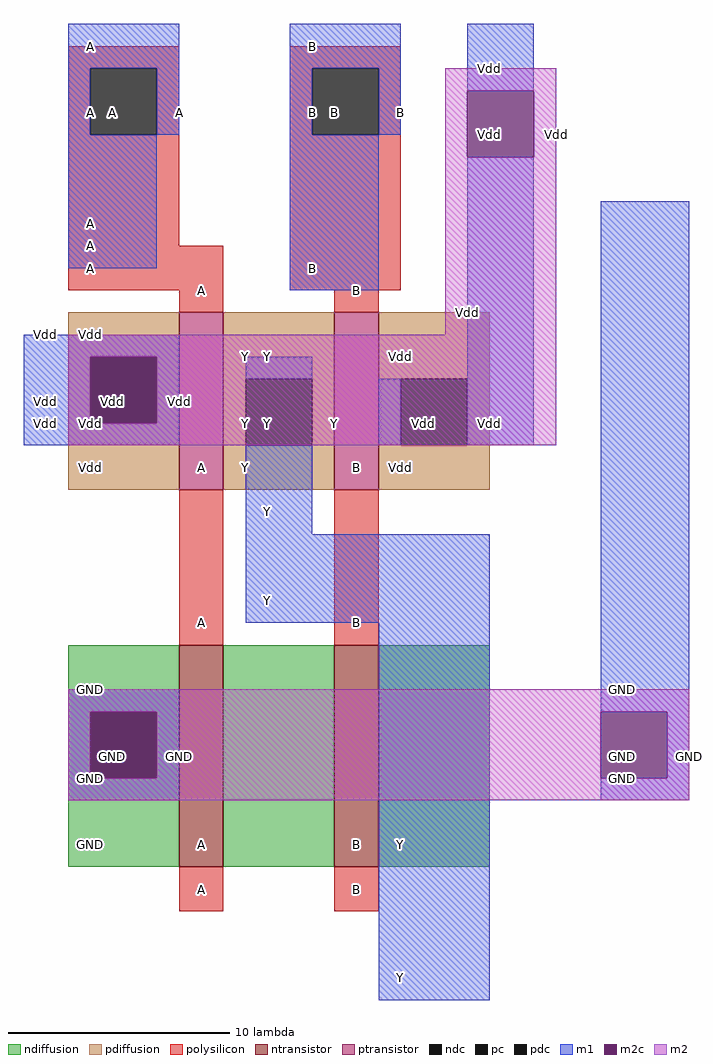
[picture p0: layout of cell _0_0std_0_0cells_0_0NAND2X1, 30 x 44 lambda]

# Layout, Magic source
magic
tech sky130l
<< ndiffusion >>
rect 8 17 13 20
rect 8 14 9 17
rect 12 14 13 17
rect 8 10 13 14
rect 15 10 20 20
rect 22 10 27 20
<< ndc >>
rect 9 14 12 17
<< ntransistor >>
rect 13 10 15 20
rect 20 10 22 20
<< pdiffusion >>
rect 8 33 13 35
rect 8 30 9 33
rect 12 30 13 33
rect 8 27 13 30
rect 15 32 20 35
rect 15 29 16 32
rect 19 29 20 32
rect 15 27 20 29
rect 22 32 27 35
rect 22 29 23 32
rect 26 29 27 32
rect 22 27 27 29
<< pdc >>
rect 9 30 12 33
rect 16 29 19 32
rect 23 29 26 32
<< ptransistor >>
rect 13 27 15 35
rect 20 27 22 35
<< polysilicon >>
rect 8 46 13 47
rect 8 43 9 46
rect 12 43 13 46
rect 8 38 13 43
rect 18 46 23 47
rect 18 43 19 46
rect 22 43 23 46
rect 8 36 15 38
rect 18 36 23 43
rect 13 35 15 36
rect 20 35 22 36
rect 13 20 15 27
rect 20 20 22 27
rect 13 8 15 10
rect 20 8 22 10
<< pc >>
rect 9 43 12 46
rect 19 43 22 46
<< m1 >>
rect 8 46 13 48
rect 8 43 9 46
rect 12 43 13 46
rect 18 46 23 48
rect 18 43 19 46
rect 22 43 23 46
rect 26 45 29 48
rect 8 37 12 43
rect 18 36 22 43
rect 6 33 13 34
rect 6 30 9 33
rect 12 30 13 33
rect 6 29 13 30
rect 16 32 19 33
rect 22 29 23 32
rect 26 29 29 42
rect 16 25 19 29
rect 16 21 27 25
rect 8 17 13 18
rect 8 14 9 17
rect 12 14 13 17
rect 8 13 13 14
rect 22 4 27 21
rect 32 17 36 40
rect 35 14 36 17
rect 32 13 36 14
<< m2c >>
rect 26 42 29 45
rect 9 30 12 33
rect 9 14 12 17
rect 32 14 35 17
<< m2 >>
rect 25 45 30 46
rect 25 42 26 45
rect 29 42 30 45
rect 25 34 30 42
rect 8 33 30 34
rect 8 30 9 33
rect 12 30 30 33
rect 8 29 30 30
rect 8 17 36 18
rect 8 14 9 17
rect 12 14 32 17
rect 35 14 36 17
rect 8 13 36 14
<< labels >>
rlabel ndiffusion 23 11 23 11 3 Y
rlabel pdiffusion 23 28 23 28 3 Vdd
rlabel pdiffusion 23 33 23 33 3 Vdd
rlabel pdiffusion 20 30 20 30 3 Y
rlabel polysilicon 21 36 21 36 3 B
rlabel polysilicon 21 9 21 9 3 B
rlabel ntransistor 21 11 21 11 3 B
rlabel polysilicon 21 21 21 21 3 B
rlabel ptransistor 21 28 21 28 3 B
rlabel pdiffusion 16 28 16 28 3 Y
rlabel pdiffusion 16 30 16 30 3 Y
rlabel pdiffusion 16 33 16 33 3 Y
rlabel polysilicon 14 9 14 9 3 A
rlabel ntransistor 14 11 14 11 3 A
rlabel polysilicon 14 21 14 21 3 A
rlabel ptransistor 14 28 14 28 3 A
rlabel polysilicon 14 36 14 36 3 A
rlabel ndiffusion 9 11 9 11 3 GND
rlabel pdiffusion 9 28 9 28 3 Vdd
rlabel polysilicon 9 37 9 37 3 A
rlabel polysilicon 9 39 9 39 3 A
rlabel m1 27 30 27 30 3 Vdd
rlabel m1 27 46 27 46 3 Vdd
rlabel m1 33 14 33 14 3 GND
rlabel m1 33 18 33 18 3 GND
rlabel pdc 24 30 24 30 3 Vdd
rlabel m1 23 44 23 44 3 B
port 1 e
rlabel m1 23 30 23 30 3 Vdd
rlabel m1 17 33 17 33 3 Y
port 2 e
rlabel pc 20 44 20 44 3 B
port 1 e
rlabel m1 23 5 23 5 3 Y
port 2 e
rlabel m1 17 22 17 22 3 Y
port 2 e
rlabel m1 17 26 17 26 3 Y
port 2 e
rlabel m1 19 37 19 37 3 B
port 1 e
rlabel m1 19 44 19 44 3 B
port 1 e
rlabel m1 19 47 19 47 3 B
port 1 e
rlabel m1 13 44 13 44 3 A
port 3 e
rlabel pdc 17 30 17 30 3 Y
port 2 e
rlabel pc 10 44 10 44 3 A
port 3 e
rlabel m1 9 38 9 38 3 A
port 3 e
rlabel m1 9 44 9 44 3 A
port 3 e
rlabel m1 9 47 9 47 3 A
port 3 e
rlabel m1 7 30 7 30 3 Vdd
rlabel m1 7 31 7 31 3 Vdd
rlabel m1 7 34 7 34 3 Vdd
rlabel m2 30 43 30 43 3 Vdd
rlabel m2 36 15 36 15 3 GND
rlabel m2c 27 43 27 43 3 Vdd
rlabel m2c 33 15 33 15 3 GND
rlabel m2 26 35 26 35 3 Vdd
rlabel m2 26 43 26 43 3 Vdd
rlabel m2 26 46 26 46 3 Vdd
rlabel m2 13 15 13 15 3 GND
rlabel m2 13 31 13 31 3 Vdd
rlabel m2c 10 15 10 15 3 GND
rlabel m2c 10 31 10 31 3 Vdd
rlabel m2 9 14 9 14 3 GND
rlabel m2 9 15 9 15 3 GND
rlabel m2 9 18 9 18 3 GND
rlabel m2 9 30 9 30 3 Vdd
rlabel m2 9 31 9 31 3 Vdd
rlabel m2 9 34 9 34 3 Vdd
<< end >>
